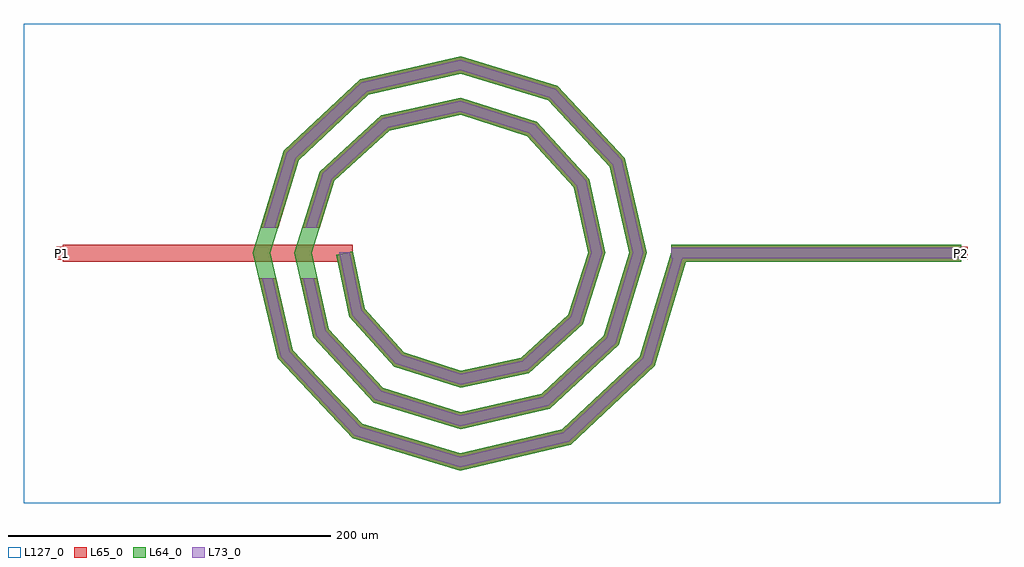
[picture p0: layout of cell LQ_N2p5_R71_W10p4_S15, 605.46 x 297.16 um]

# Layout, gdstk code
import gdstk
lib = gdstk.Library(unit=1e-6, precision=1e-09)
def R(c, l, rs):  # rectangles x0, y0, x1, y1
    for r in rs: c.add(gdstk.rectangle(r[:2], r[2:], *l))
def P(c, l, *ps):  # polygons
    for p in ps: c.add(gdstk.Polygon(p, *l))
L64_0 = (64, 0)
L65_0 = (65, 0)
L73_0 = (73, 0)
L127_0 = (127, 0)

lq_n2p5_r71_w10p4_s15 = lib.new_cell('LQ_N2p5_R71_W10p4_S15')
R(lq_n2p5_r71_w10p4_s15, L64_0, [(130.845,-5.2,310.845,5.2)])
P(lq_n2p5_r71_w10p4_s15, L64_0, [(-59.247,-34.542),(-35.116,-61.387),(0.275,-72.861),(37.732,-64.82),(66.937,-38.346),(79.283,0.254),(70.391,40.926),(41.573,72.49),(0.236,85.705),(-44.123,75.962),(-78.044,44.798),(-92.128,0.22),(-81.531,-47.321),(-48.022,-83.599),(0.207,-98.55),(50.521,-87.1),(89.154,-51.244),(104.973,0.195),(92.668,53.722),(54.465,94.711),(0.184,111.395),(-56.925,98.235),(-100.268,57.685),(-117.818,0.175),(-103.802,-60.128),(-60.904,-105.826),(0.166,-124.241),(63.332,-109.368),(111.384,-64.122),(131.064,1.494),(141.026,-1.494),(120.544,-69.782),(68.431,-118.852),(0.166,-135.003),(-66.577,-114.978),(-113.294,-65.212),(-128.58,0.175),(-109.411,63.373),(-61.992,107.736),(0.184,122.157),(60.17,103.843),(102.178,58.772),(115.734,0.195),(98.275,-56.968),(55.55,-96.621),(0.207,-109.31),(-53.767,-92.706),(-91.065,-52.327),(-102.887,0.22),(-87.136,50.568),(-49.103,85.509),(0.236,96.463),(47.37,81.565),(79.955,45.876),(90.04,0.254),(75.992,-44.175),(42.647,-74.402),(0.275,-83.616),(-40.982,-70.418),(-68.85,-39.415),(-76.904,-1.069),(-66.727,1.069)])
R(lq_n2p5_r71_w10p4_s15, L65_0, [(-246.616,-5.2,-66.616,5.2), (130.845,-5.2,310.845,5.2), (-250.616,-4,-242.616,4), (306.845,-4,314.845,4)])
P(lq_n2p5_r71_w10p4_s15, L65_0, [(-103.802,-60.128),(-60.904,-105.826),(0.166,-124.241),(63.332,-109.368),(111.384,-64.122),(131.064,1.494),(141.026,-1.494),(120.544,-69.782),(68.431,-118.852),(0.166,-135.003),(-66.577,-114.978),(-113.294,-65.212),(-124.892,-15.6),(-114.212,-15.6)],
  [(-81.531,-47.321),(-48.022,-83.599),(0.207,-98.55),(50.521,-87.1),(89.154,-51.244),(104.973,0.195),(92.668,53.722),(54.465,94.711),(0.184,111.395),(-56.925,98.235),(-100.268,57.685),(-113.033,15.6),(-123.901,15.6),(-109.411,63.373),(-61.992,107.736),(0.184,122.157),(60.17,103.843),(102.178,58.772),(115.734,0.195),(98.275,-56.968),(55.55,-96.621),(0.207,-109.31),(-53.768,-92.706),(-91.065,-52.327),(-99.328,-15.6),(-88.668,-15.6)],
  [(-35.116,-61.387),(0.275,-72.861),(37.732,-64.82),(66.938,-38.346),(79.283,0.254),(70.391,40.926),(41.573,72.49),(0.236,85.705),(-44.123,75.962),(-78.044,44.798),(-87.178,15.6),(-98.075,15.6),(-87.136,50.568),(-49.103,85.509),(0.236,96.463),(47.37,81.565),(79.955,45.876),(90.04,0.254),(75.992,-44.175),(42.647,-74.402),(0.275,-83.616),(-40.982,-70.418),(-68.85,-39.415),(-76.905,-1.069),(-66.727,1.069),(-59.247,-34.542)])
R(lq_n2p5_r71_w10p4_s15, L73_0, [(130.845,-3.2,310.845,3.2)])
P(lq_n2p5_r71_w10p4_s15, L73_0, [(-105.627,-61.106),(-61.995,-107.586),(0.102,-126.31),(64.313,-111.192),(113.146,-65.211),(132.98,0.919),(139.11,0.919),(118.783,-68.693),(67.45,-117.028),(0.102,-132.934),(-65.486,-113.218),(-111.468,-64.234),(-122.838,-15.6),(-116.266,-15.6)],
  [(-83.365,-48.284),(-49.127,-85.35),(0.127,-100.619),(51.488,-88.931),(90.908,-52.345),(107.042,0.12),(94.497,54.693),(55.562,96.467),(0.113,113.465),(-57.899,100.062),(-102.026,58.779),(-115.123,15.6),(-121.811,15.6),(-107.652,62.279),(-61.018,105.909),(0.113,120.087),(59.073,102.087),(100.349,57.801),(113.664,0.12),(96.521,-55.867),(54.583,-94.79),(0.127,-107.241),(-52.663,-90.954),(-89.231,-51.365),(-97.278,-15.6),(-90.718,-15.6)],
  [(-36.244,-63.124),(0.169,-74.929),(38.678,-66.662),(68.679,-39.467),(81.352,0.156),(72.23,41.878),(42.688,74.235),(0.145,87.774),(-45.08,77.798),(-79.792,45.908),(-89.274,15.6),(-95.98,15.6),(-85.387,49.459),(-48.145,83.673),(0.145,94.395),(46.256,79.819),(78.116,44.924),(87.971,0.156),(74.251,-43.054),(41.702,-72.559),(0.169,-81.548),(-39.854,-68.681),(-67.003,-38.478),(-74.947,0.658),(-68.684,0.658),(-61.093,-35.479)])
R(lq_n2p5_r71_w10p4_s15, L127_0, [(-270.616,-155.003,334.845,142.157)])
lq_n2p5_r71_w10p4_s15.add(gdstk.Label('P2', (310.845,0), layer=65, texttype=0))
lq_n2p5_r71_w10p4_s15.add(gdstk.Label('P1', (-246.616,0), layer=65, texttype=0))
lq_n2p5_r71_w10p4_s15.add(gdstk.Label('P2', (314.845,0), layer=145, texttype=0))
lq_n2p5_r71_w10p4_s15.add(gdstk.Label('P1', (-250.616,0), layer=145, texttype=0))

lib.write_gds('LQ_N2p5_R71_W10p4_S15.gds')
